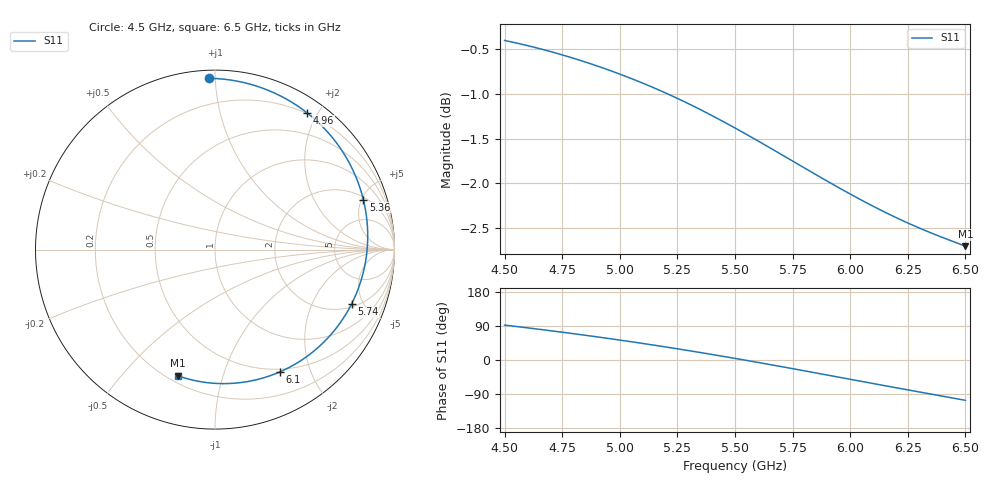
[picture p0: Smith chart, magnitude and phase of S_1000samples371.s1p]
! TOUCHSTONE file generated by CST MICROWAVE STUDIO
! Date and time: Thu Oct 27 22:45:40 2022
! Project name: L.cst
! Parameters = {Di=1.27; Epsilon_r=1.56; InnerDiameter=1.27; Length=2; Lf=10; Lg=60; OuterConductorThickness=0.2921; OuterDiameter=3.6; Wf=3; Wp=41.2; de=1.5; df=6.8; g=0.8; gx=2.5692; gy=3.71569; h=2.34; hf=1.524; px=9.67461; py=12.1182; w=9.7; wx=7.10541; wy=8.40255}
! Header version: 2018
! Port assignment regex: !\s*Touchstone port\s*([0-9]+)\s*=\s*(CST MWS port|CST DS port)\s*([0-9]+|Zmin|Zmax)\s*\(\"(.*)\"\)(\s*mode\s*([0-9]+))?.*
! Touchstone port assignment:
! Touchstone port 1 = CST MWS port 1 ("")
# GHz S DB R 50
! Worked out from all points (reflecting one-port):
!   101 points, 4.5 GHz to 6.5 GHz, reference 50 ohm
!   lowest |S11| = -2.7 dB at 6.5 GHz (marker M1), VSWR 6.48, Z = 11.9 - j36.1 ohm
!   phase of S11 starts at 92 deg and turns -198 deg over the sweep
!   S11 on the Smith chart (normalised r, x): 4.5 GHz: 0.04, +0.96; 4.96 GHz: 0.19, +1.86; 5.36 GHz: 2.21, +5.17; 5.74 GHz: 2.20, -4.06; 6.1 GHz: 0.46, -1.56; 6.5 GHz: 0.24, -0.72
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4.5  -0.40 92.0
4.64  -0.48 81.8
4.76  -0.57 72.5
4.86  -0.65 64.5
4.96  -0.74 56.0
5  -0.78 52.6
5.12  -0.90 41.8
5.2  -0.99 34.3
5.26  -1.06 28.6
5.36  -1.19 18.7
5.44  -1.30 10.5
5.5  -1.38 4.2
5.56  -1.47 -2.1
5.62  -1.55 -8.6
5.68  -1.64 -15.1
5.74  -1.73 -21.8
5.76  -1.76 -24.0
5.82  -1.86 -30.7
5.88  -1.94 -37.4
5.94  -2.03 -44.1
6  -2.12 -50.9
6.1  -2.26 -62.1
6.18  -2.36 -71.1
6.26  -2.45 -80.0
6.32  -2.52 -86.6
6.38  -2.58 -93.2
6.44  -2.64 -99.8
6.5  -2.70 -106.4
